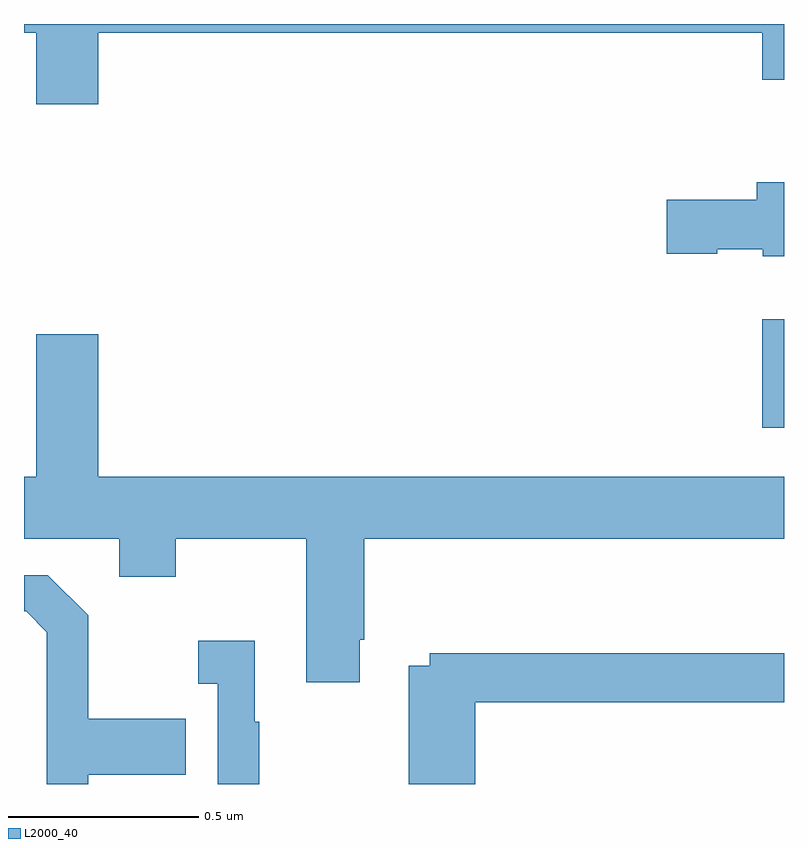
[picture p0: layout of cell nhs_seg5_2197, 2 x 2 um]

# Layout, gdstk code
import gdstk
lib = gdstk.Library(unit=1e-6, precision=1e-09)
def R(c, l, rs):  # rectangles x0, y0, x1, y1
    for r in rs: c.add(gdstk.rectangle(r[:2], r[2:], *l))
def P(c, l, *ps):  # polygons
    for p in ps: c.add(gdstk.Polygon(p, *l))
L2000_40 = (2000, 40)

nhs_seg5_2197 = lib.new_cell('nhs_seg5_2197')
R(nhs_seg5_2197, L2000_40, [(142.943,839.736,143,840.022)])
P(nhs_seg5_2197, L2000_40, [(141.196,840.776),(142.943,840.776),(142.943,840.652),(143,840.652),(143,840.799),(141,840.799),(141,840.776),(141.032,840.776),(141.032,840.588),(141.196,840.588)],
  [(143,840.382),(142.928,840.382),(142.928,840.336),(142.692,840.336),(142.692,840.194),(142.824,840.194),(142.824,840.206),(142.944,840.206),(142.944,840.188),(143,840.188)],
  [(141.883,839.179),(141.896,839.179),(141.896,839.444),(143,839.444),(143,839.608),(141.196,839.608),(141.196,839.983),(141.032,839.983),(141.032,839.608),(141,839.608),(141,839.444),(141.251,839.444),(141.251,839.345),(141.399,839.345),(141.399,839.444),(141.743,839.444),(141.743,839.067),(141.883,839.067)],
  [(141.169,838.823),(141.425,838.823),(141.425,838.971),(141.169,838.971),(141.169,839.243),(141.063,839.349),(141,839.349),(141,839.253),(141.006,839.253),(141.06,839.199),(141.06,838.799),(141.169,838.799)],
  [(141.619,838.963),(141.607,838.963),(141.607,839.176),(141.459,839.176),(141.459,839.063),(141.51,839.063),(141.51,838.799),(141.619,838.799)],
  [(142.187,839.014),(143,839.014),(143,839.143),(142.068,839.143),(142.068,839.11),(142.012,839.11),(142.012,838.799),(142.187,838.799)])

lib.write_gds('nhs_seg5_2197.gds')
